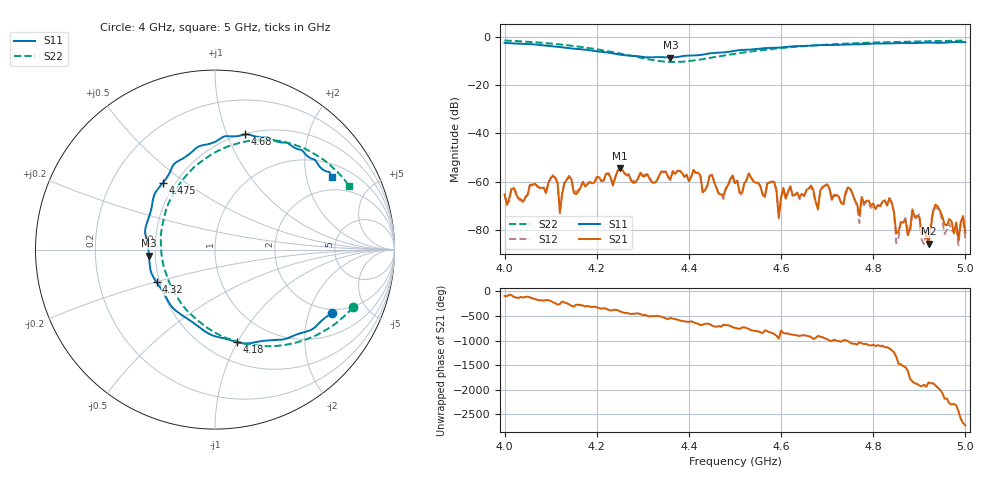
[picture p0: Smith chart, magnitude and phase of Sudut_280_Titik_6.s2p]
# Hz S RI R 50
! CMT, C1220, 16058040, 17.2.0/1
! Date: 15/08/2018 12:13:31
! Data: Format (Calibration Info)
! Freq  S11: Re/Im (F2)  S21: Re/Im (F2)  S12: Re/Im (F2)  S22: Re/Im (F2)
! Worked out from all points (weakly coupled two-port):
!   201 points, 4 GHz to 5 GHz, reference 50 ohm
!   highest |S21| = -54.49 dB at 4.25 GHz (marker M1); lowest = -85.7 dB at 4.92 GHz (marker M2)
!   lowest |S11| = -8.7 dB at 4.36 GHz (marker M3), VSWR 2.17, Z = 23.1 - j1.83 ohm
!   |S11| at or under -10 dB: nowhere
!   |S22| runs from -10.5 to -1.6 dB; largest |S21 - S12| = 0.0001
!   S11 on the Smith chart (normalised r, x): 4 GHz: 1.84, -2.88; 4.18 GHz: 0.69, -1.00; 4.32 GHz: 0.48, -0.20; 4.475 GHz: 0.43, +0.41; 4.68 GHz: 0.51, +1.16; 5 GHz: 1.43, +2.83
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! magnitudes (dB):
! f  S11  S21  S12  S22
! 4 GHz  -2.6  -65.3  -65.0  -1.6
! 4.105 GHz  -4.0  -57.6  -57.2  -3.0
! 4.12 GHz  -4.3  -72.4  -73.2  -3.2
! 4.14 GHz  -4.8  -58.0  -57.5  -3.7
! 4.17 GHz  -5.3  -60.0  -60.1  -4.4
! 4.18 GHz  -5.5  -60.9  -60.9  -4.6
! 4.25 GHz  -7.4  -54.5  -54.2  -7.0
! 4.32 GHz  -8.6  -60.3  -60.0  -9.6
! 4.335 GHz  -8.5  -57.6  -58.0  -10.1
! 4.36 GHz  -8.7  -58.9  -59.5  -10.5
! 4.475 GHz  -6.5  -65.9  -67.2  -7.9
! 4.5 GHz  -5.8  -60.6  -61.2  -7.1
! 4.585 GHz  -4.6  -60.1  -59.9  -5.0
! 4.595 GHz  -4.6  -74.5  -75.2  -4.8
! 4.605 GHz  -4.4  -62.6  -63.1  -4.7
! 4.67 GHz  -3.7  -63.5  -64.6  -3.7
! 4.68 GHz  -3.6  -71.5  -70.0  -3.5
! 4.835 GHz  -2.8  -66.8  -66.8  -2.3
! 4.85 GHz  -2.7  -81.4  -85.5  -2.2
! 4.92 GHz  -2.5  -85.7  -86.6  -1.9
! 4.935 GHz  -2.6  -69.4  -70.8  -1.8
! 5 GHz  -2.3  -81.0  -84.1  -1.6
